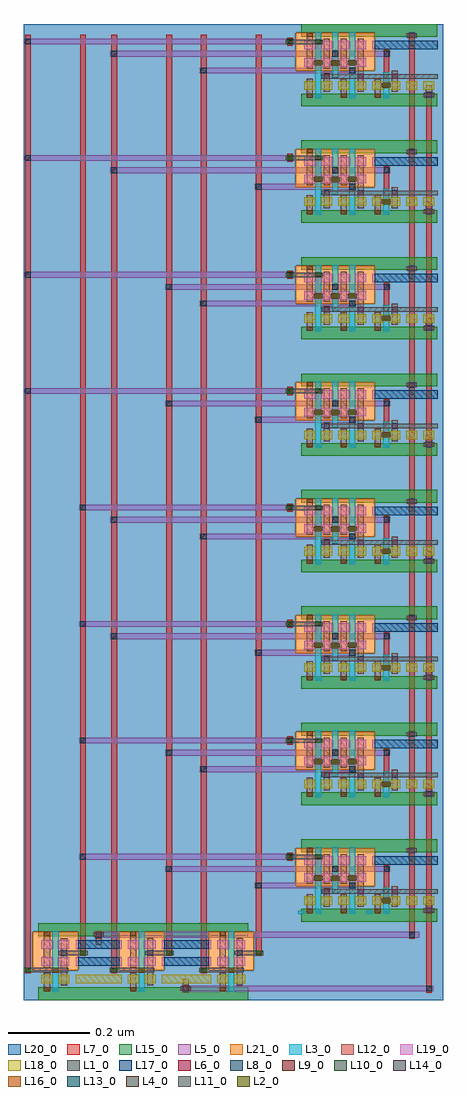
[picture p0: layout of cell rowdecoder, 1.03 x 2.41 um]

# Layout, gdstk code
import gdstk
lib = gdstk.Library(unit=1e-6, precision=2.5e-10)
def R(c, l, rs):  # rectangles x0, y0, x1, y1
    for r in rs: c.add(gdstk.rectangle(r[:2], r[2:], *l))
def A(c, l, x, y, w, h, nx, ny, dx, dy):  # array of equal rectangles
    R(c, l, [(x+i*dx, y+j*dy, x+i*dx+w, y+j*dy+h) for i in range(nx) for j in range(ny)])
def P(c, l, *ps):  # polygons
    for p in ps: c.add(gdstk.Polygon(p, *l))
L1_0 = (1, 0)
L2_0 = (2, 0)
L3_0 = (3, 0)
L4_0 = (4, 0)
L5_0 = (5, 0)
L6_0 = (6, 0)
L7_0 = (7, 0)
L8_0 = (8, 0)
L9_0 = (9, 0)
L10_0 = (10, 0)
L11_0 = (11, 0)
L12_0 = (12, 0)
L13_0 = (13, 0)
L14_0 = (14, 0)
L15_0 = (15, 0)
L16_0 = (16, 0)
L17_0 = (17, 0)
L18_0 = (18, 0)
L19_0 = (19, 0)
L20_0 = (20, 0)
L21_0 = (21, 0)

inv_2 = lib.new_cell('inv_2')
R(inv_2, L1_0, [(-0.011,0.016,0.011,0.027), (0.0085,0.0585,0.0335,0.0695)])
R(inv_2, L2_0, [(-0.0075,0.016,0.0075,0.027)])
R(inv_2, L3_0, [(-0.0075,-0.032,0.0075,0.117)])
R(inv_2, L4_0, [(-0.0075,0.015,0.0075,0.028)])
R(inv_2, L11_0, [(0.0145,0.0585,0.0275,0.0695)])
R(inv_2, L12_0, [(-0.0285,-0.031,-0.0135,0.0155), (0.0135,-0.0155,0.0285,0.1005), (-0.0285,0.027,-0.0135,0.116)])
R(inv_2, L13_0, [(0.0145,0.0575,0.0275,0.0705)])
R(inv_2, L14_0, [(-0.0285,-0.031,-0.0135,-0.0205), (-0.0285,0.1055,-0.0135,0.116)])
R(inv_2, L15_0, [(-0.042,-0.052,0.0415,-0.0205), (-0.042,0.1055,0.0415,0.137)])
R(inv_2, L16_0, [(-0.0285,-0.031,-0.0135,-0.0205), (-0.0285,0.1055,-0.0135,0.116)])
R(inv_2, L18_0, [(-0.0345,-0.0105,-0.0075,0.0105), (0.0075,-0.0105,0.0345,0.0105)])
R(inv_2, L19_0, [(-0.0345,0.032,-0.0075,0.053), (0.0075,0.032,0.0345,0.053), (-0.0345,0.0745,-0.0075,0.0955), (0.0075,0.0745,0.0345,0.0955)])
R(inv_2, L20_0, [(-0.0555,-0.052,0.0555,0.021), (-0.0555,0.116,0.0555,0.137)])
R(inv_2, L21_0, [(-0.0555,0.021,0.0555,0.116)])

nor_5 = lib.new_cell('nor_5')
R(nor_5, L1_0, [(0.11,-0.008,0.132,0.003), (-0.0385,0.014,0.1545,0.025), (-0.016,0.047,0.006,0.058), (-0.058,0.0475,-0.036,0.0585), (0.026,0.0475,0.048,0.0585)])
R(nor_5, L2_0, [(0.1135,-0.008,0.1285,0.003), (-0.0125,0.047,0.0025,0.058), (-0.0545,0.0475,-0.0395,0.0585), (0.0295,0.0475,0.0445,0.0585)])
R(nor_5, L3_0, [(-0.0545,-0.0345,-0.0395,0.1285), (0.0295,-0.0345,0.0445,0.1285), (0.1135,-0.0345,0.1285,0.0295), (-0.0125,0.0155,0.0025,0.1285)])
R(nor_5, L4_0, [(0.1135,-0.009,0.1285,0.004), (-0.0125,0.046,0.0025,0.059), (-0.0545,0.0465,-0.0395,0.0595), (0.0295,0.0465,0.0445,0.0595)])
R(nor_5, L5_0, [(-0.015,0.068,0.131,0.082)])
R(nor_5, L6_0, [(-0.012,0.068,0.002,0.082), (0.114,0.068,0.128,0.082)])
R(nor_5, L7_0, [(0.114,-0.01,0.128,0.085), (-0.012,0.0415,0.002,0.085)])
R(nor_5, L8_0, [(-0.012,0.068,0.002,0.082), (0.114,0.068,0.128,0.082)])
R(nor_5, L9_0, [(0.114,-0.0075,0.128,0.0025), (-0.012,0.047,0.002,0.057)])
R(nor_5, L10_0, [(0.114,-0.0075,0.128,0.0025), (-0.012,0.047,0.002,0.057)])
A(nor_5, L11_0, -0.0325, 0.014, 0.013, 0.011, 3, 1, 0.084, 0)
A(nor_5, L12_0, -0.0755, -0.0335, 0.015, 0.0465, 3, 1, 0.084, 0)
R(nor_5, L12_0, [(-0.0335,-0.018,-0.0185,0.028), (0.0505,-0.018,0.0655,0.112), (0.1345,-0.018,0.1495,0.033), (-0.0755,0.0385,-0.0605,0.1275), (-0.0335,0.0385,-0.0185,0.112), (0.0085,0.0385,0.0235,0.112)])
A(nor_5, L13_0, -0.0325, 0.013, 0.013, 0.013, 3, 1, 0.084, 0)
A(nor_5, L14_0, -0.0755, -0.0335, 0.015, 0.0105, 3, 1, 0.084, 0)
R(nor_5, L14_0, [(-0.0755,0.117,-0.0605,0.1275)])
R(nor_5, L15_0, [(-0.089,-0.0545,0.163,-0.023), (-0.089,0.117,0.163,0.1485)])
A(nor_5, L16_0, -0.0755, -0.0335, 0.015, 0.0105, 3, 1, 0.084, 0)
R(nor_5, L16_0, [(-0.0755,0.117,-0.0605,0.1275)])
A(nor_5, L18_0, -0.0815, -0.013, 0.027, 0.021, 6, 1, 0.042, 0)
R(nor_5, L18_0, [(0.1705,-0.013,0.1775,0.008)])
A(nor_5, L19_0, -0.0815, 0.0435, 0.027, 0.021, 4, 2, 0.042, 0.0425)
R(nor_5, L19_0, [(0.0865,0.086,0.0925,0.107)])
P(nor_5, L20_0, [(0.1775,0.1485),(0.1775,0.127),(-0.1025,0.127),(-0.1025,0.033),(0.0925,0.033),(0.0925,0.127),(0.1775,0.127),(0.1775,-0.0545),(-0.1035,-0.0545),(-0.1035,0.1485)])
R(nor_5, L21_0, [(-0.1025,0.033,0.0925,0.127)])

rowdecoder = lib.new_cell('rowdecoder')
A(rowdecoder, L1_0, 1.023, 0.249, 0.025, 0.011, 1, 6, 0, 0.287)
A(rowdecoder, L1_0, 0.959, 0.295, 0.098, 0.011, 1, 6, 0, 0.287)
A(rowdecoder, L1_0, 0.981, 0.396, 0.025, 0.011, 1, 6, 0, 0.287)
R(rowdecoder, L1_0, [(0.4235,0.056,0.4485,0.067), (0.0365,0.1015,0.1465,0.1125), (0.249,0.1015,0.359,0.1125), (0.4695,0.1015,0.5795,0.1125), (0.1235,0.144,0.194,0.155), (0.336,0.144,0.4065,0.155), (0.5565,0.144,0.627,0.155), (0.209,0.189,0.234,0.2), (0.7515,0.3285,0.7735,0.3385), (0.8355,0.329,0.8575,0.339), (0.682,0.3805,0.7735,0.3915), (0.8355,0.6155,0.8575,0.6255), (0.7515,0.616,0.7735,0.626), (0.682,0.667,0.7735,0.678), (0.7515,0.9025,0.7735,0.9125), (0.8355,0.903,0.8575,0.913), (0.682,0.9545,0.7735,0.9655), (0.8355,1.1895,0.8575,1.1995), (0.7515,1.19,0.7735,1.2), (0.682,1.241,0.7735,1.252), (0.7515,1.4765,0.7735,1.4865), (0.8355,1.477,0.8575,1.487), (0.682,1.5285,0.7735,1.5395), (0.8355,1.7635,0.8575,1.7735), (0.7515,1.764,0.7735,1.774), (0.682,1.815,0.7735,1.826), (1.023,1.9715,1.048,1.9825), (0.959,2.0175,1.057,2.0285), (0.7515,2.051,0.7735,2.061), (0.8355,2.0515,0.8575,2.0615), (0.682,2.103,0.7735,2.114), (0.981,2.1185,1.006,2.1295), (1.023,2.2585,1.048,2.2695), (0.959,2.3045,1.057,2.3155), (0.8355,2.338,0.8575,2.348), (0.7515,2.3385,0.7735,2.3485), (0.682,2.3895,0.7735,2.4005), (0.981,2.4055,1.006,2.4165)])
A(rowdecoder, L3_0, 0.755, 0.2465, 0.015, 0.163, 1, 6, 0, 0.287)
A(rowdecoder, L3_0, 0.839, 0.2465, 0.015, 0.163, 1, 6, 0, 0.287)
A(rowdecoder, L3_0, 0.923, 0.2465, 0.015, 0.064, 1, 6, 0, 0.287)
A(rowdecoder, L3_0, 0.797, 0.2965, 0.015, 0.113, 1, 6, 0, 0.287)
R(rowdecoder, L3_0, [(0.713,0.2465,0.728,0.253), (0.881,0.2465,0.896,0.253), (0.755,1.969,0.77,2.132), (0.839,1.969,0.854,2.132), (0.923,1.969,0.938,2.033), (0.797,2.019,0.812,2.132), (0.755,2.256,0.77,2.419), (0.839,2.256,0.854,2.419), (0.923,2.256,0.938,2.32), (0.797,2.306,0.812,2.419)])
A(rowdecoder, L5_0, 0.606, 0.3085, 0.2505, 0.014, 1, 3, 0, 0.574)
A(rowdecoder, L5_0, 0.4705, 0.595, 0.386, 0.014, 1, 3, 0, 0.574)
R(rowdecoder, L5_0, [(0.426,0.0545,1.0455,0.0685), (0.2115,0.1875,1.011,0.2015), (0.3855,0.349,0.812,0.363), (0.173,0.3795,0.703,0.3935), (0.3855,0.636,0.812,0.65), (0.173,0.666,0.703,0.68), (0.25,0.923,0.812,0.937), (0.173,0.9535,0.703,0.9675), (0.25,1.21,0.812,1.224), (0.173,1.24,0.703,1.254), (0.3855,1.497,0.812,1.511), (0.0375,1.5275,0.703,1.5415), (0.3855,1.784,0.812,1.798), (0.0375,1.814,0.703,1.828), (0.606,2.031,0.8565,2.045), (0.25,2.0715,0.812,2.0855), (0.0375,2.102,0.703,2.116), (0.4705,2.3175,0.8565,2.3315), (0.25,2.3585,0.812,2.3725), (0.0375,2.3885,0.703,2.4025)])
A(rowdecoder, L6_0, 0.609, 0.3085, 0.014, 0.014, 1, 3, 0, 0.574)
A(rowdecoder, L6_0, 0.4735, 0.595, 0.014, 0.014, 1, 3, 0, 0.574)
R(rowdecoder, L6_0, [(0.429,0.0545,0.443,0.0685), (1.0285,0.0545,1.0425,0.0685), (0.2145,0.1875,0.2285,0.2015), (0.9865,0.1875,1.0005,0.2015), (0.8395,0.3085,0.8535,0.3225), (0.3885,0.349,0.4025,0.363), (0.176,0.3795,0.19,0.3935), (0.686,0.3795,0.7,0.3935), (0.8395,0.595,0.8535,0.609), (0.3885,0.636,0.4025,0.65), (0.176,0.666,0.19,0.68), (0.686,0.666,0.7,0.68), (0.8395,0.8825,0.8535,0.8965), (0.253,0.923,0.267,0.937), (0.176,0.9535,0.19,0.9675), (0.686,0.9535,0.7,0.9675), (0.8395,1.169,0.8535,1.183), (0.253,1.21,0.267,1.224), (0.176,1.24,0.19,1.254), (0.686,1.24,0.7,1.254), (0.8395,1.4565,0.8535,1.4705), (0.3885,1.497,0.4025,1.511), (0.0405,1.5275,0.0545,1.5415), (0.686,1.5275,0.7,1.5415), (0.8395,1.743,0.8535,1.757), (0.3885,1.784,0.4025,1.798), (0.0405,1.814,0.0545,1.828), (0.686,1.814,0.7,1.828), (0.609,2.031,0.623,2.045), (0.8395,2.031,0.8535,2.045), (0.253,2.0715,0.267,2.0855), (0.0405,2.102,0.0545,2.116), (0.686,2.102,0.7,2.116), (0.4735,2.3175,0.4875,2.3315), (0.8395,2.3175,0.8535,2.3315), (0.253,2.3585,0.267,2.3725), (0.0405,2.3885,0.0545,2.4025), (0.686,2.3885,0.7,2.4025)])
R(rowdecoder, L7_0, [(0.429,0.0515,0.443,0.0715), (1.0285,0.0515,1.0425,2.2715), (0.0405,0.0995,0.0545,2.412), (0.253,0.0995,0.267,2.412), (0.4735,0.0995,0.4875,2.412), (0.176,0.142,0.19,2.412), (0.3885,0.142,0.4025,2.412), (0.609,0.142,0.623,2.412), (0.2145,0.1845,0.2285,0.2045), (0.9865,0.1845,1.0005,2.4185), (0.8395,0.3055,0.8535,0.3415), (0.7555,0.326,0.7695,0.394), (0.686,0.3765,0.7,0.3965), (0.8395,0.592,0.8535,0.628), (0.7555,0.6125,0.7695,0.6805), (0.686,0.663,0.7,0.683), (0.8395,0.8795,0.8535,0.9155), (0.7555,0.9,0.7695,0.968), (0.686,0.9505,0.7,0.9705), (0.8395,1.166,0.8535,1.202), (0.7555,1.1865,0.7695,1.2545), (0.686,1.237,0.7,1.257), (0.8395,1.4535,0.8535,1.4895), (0.7555,1.474,0.7695,1.542), (0.686,1.5245,0.7,1.5445), (0.8395,1.74,0.8535,1.776), (0.7555,1.7605,0.7695,1.8285), (0.686,1.811,0.7,1.831), (0.8395,2.028,0.8535,2.064), (0.7555,2.0485,0.7695,2.1165), (0.686,2.099,0.7,2.119), (0.8395,2.3145,0.8535,2.3505), (0.7555,2.335,0.7695,2.403), (0.686,2.3855,0.7,2.4055)])
A(rowdecoder, L8_0, 0.609, 0.3085, 0.014, 0.014, 1, 3, 0, 0.574)
A(rowdecoder, L8_0, 0.4735, 0.595, 0.014, 0.014, 1, 3, 0, 0.574)
R(rowdecoder, L8_0, [(0.429,0.0545,0.443,0.0685), (1.0285,0.0545,1.0425,0.0685), (0.2145,0.1875,0.2285,0.2015), (0.9865,0.1875,1.0005,0.2015), (0.8395,0.3085,0.8535,0.3225), (0.3885,0.349,0.4025,0.363), (0.176,0.3795,0.19,0.3935), (0.686,0.3795,0.7,0.3935), (0.8395,0.595,0.8535,0.609), (0.3885,0.636,0.4025,0.65), (0.176,0.666,0.19,0.68), (0.686,0.666,0.7,0.68), (0.8395,0.8825,0.8535,0.8965), (0.253,0.923,0.267,0.937), (0.176,0.9535,0.19,0.9675), (0.686,0.9535,0.7,0.9675), (0.8395,1.169,0.8535,1.183), (0.253,1.21,0.267,1.224), (0.176,1.24,0.19,1.254), (0.686,1.24,0.7,1.254), (0.8395,1.4565,0.8535,1.4705), (0.3885,1.497,0.4025,1.511), (0.0405,1.5275,0.0545,1.5415), (0.686,1.5275,0.7,1.5415), (0.8395,1.743,0.8535,1.757), (0.3885,1.784,0.4025,1.798), (0.0405,1.814,0.0545,1.828), (0.686,1.814,0.7,1.828), (0.609,2.031,0.623,2.045), (0.8395,2.031,0.8535,2.045), (0.253,2.0715,0.267,2.0855), (0.0405,2.102,0.0545,2.116), (0.686,2.102,0.7,2.116), (0.4735,2.3175,0.4875,2.3315), (0.8395,2.3175,0.8535,2.3315), (0.253,2.3585,0.267,2.3725), (0.0405,2.3885,0.0545,2.4025), (0.686,2.3885,0.7,2.4025)])
A(rowdecoder, L9_0, 1.0285, 0.2495, 0.014, 0.01, 1, 6, 0, 0.287)
A(rowdecoder, L9_0, 0.9865, 0.3965, 0.014, 0.01, 1, 6, 0, 0.287)
R(rowdecoder, L9_0, [(0.429,0.0565,0.443,0.0665), (0.0405,0.102,0.0545,0.112), (0.253,0.102,0.267,0.112), (0.4735,0.102,0.4875,0.112), (0.176,0.1445,0.19,0.1545), (0.3885,0.1445,0.4025,0.1545), (0.609,0.1445,0.623,0.1545), (0.2145,0.1895,0.2285,0.1995), (0.7555,0.3285,0.7695,0.3385), (0.8395,0.329,0.8535,0.339), (0.686,0.3815,0.7,0.3915), (0.7555,0.3815,0.7695,0.3915), (0.8395,0.6155,0.8535,0.6255), (0.7555,0.616,0.7695,0.626), (0.686,0.668,0.7,0.678), (0.7555,0.668,0.7695,0.678), (0.7555,0.9025,0.7695,0.9125), (0.8395,0.903,0.8535,0.913), (0.686,0.9555,0.7,0.9655), (0.7555,0.9555,0.7695,0.9655), (0.8395,1.1895,0.8535,1.1995), (0.7555,1.19,0.7695,1.2), (0.686,1.242,0.7,1.252), (0.7555,1.242,0.7695,1.252), (0.7555,1.4765,0.7695,1.4865), (0.8395,1.477,0.8535,1.487), (0.686,1.5295,0.7,1.5395), (0.7555,1.5295,0.7695,1.5395), (0.8395,1.7635,0.8535,1.7735), (0.7555,1.764,0.7695,1.774), (0.686,1.816,0.7,1.826), (0.7555,1.816,0.7695,1.826), (1.0285,1.972,1.0425,1.982), (0.7555,2.051,0.7695,2.061), (0.8395,2.0515,0.8535,2.0615), (0.686,2.104,0.7,2.114), (0.7555,2.104,0.7695,2.114), (0.9865,2.119,1.0005,2.129), (1.0285,2.259,1.0425,2.269), (0.8395,2.338,0.8535,2.348), (0.7555,2.3385,0.7695,2.3485), (0.686,2.3905,0.7,2.4005), (0.7555,2.3905,0.7695,2.4005), (0.9865,2.406,1.0005,2.416)])
A(rowdecoder, L10_0, 1.0285, 0.2495, 0.014, 0.01, 1, 6, 0, 0.287)
A(rowdecoder, L10_0, 0.9865, 0.3965, 0.014, 0.01, 1, 6, 0, 0.287)
R(rowdecoder, L10_0, [(0.429,0.0565,0.443,0.0665), (0.0405,0.102,0.0545,0.112), (0.253,0.102,0.267,0.112), (0.4735,0.102,0.4875,0.112), (0.176,0.1445,0.19,0.1545), (0.3885,0.1445,0.4025,0.1545), (0.609,0.1445,0.623,0.1545), (0.2145,0.1895,0.2285,0.1995), (0.7555,0.3285,0.7695,0.3385), (0.8395,0.329,0.8535,0.339), (0.686,0.3815,0.7,0.3915), (0.7555,0.3815,0.7695,0.3915), (0.8395,0.6155,0.8535,0.6255), (0.7555,0.616,0.7695,0.626), (0.686,0.668,0.7,0.678), (0.7555,0.668,0.7695,0.678), (0.7555,0.9025,0.7695,0.9125), (0.8395,0.903,0.8535,0.913), (0.686,0.9555,0.7,0.9655), (0.7555,0.9555,0.7695,0.9655), (0.8395,1.1895,0.8535,1.1995), (0.7555,1.19,0.7695,1.2), (0.686,1.242,0.7,1.252), (0.7555,1.242,0.7695,1.252), (0.7555,1.4765,0.7695,1.4865), (0.8395,1.477,0.8535,1.487), (0.686,1.5295,0.7,1.5395), (0.7555,1.5295,0.7695,1.5395), (0.8395,1.7635,0.8535,1.7735), (0.7555,1.764,0.7695,1.774), (0.686,1.816,0.7,1.826), (0.7555,1.816,0.7695,1.826), (1.0285,1.972,1.0425,1.982), (0.7555,2.051,0.7695,2.061), (0.8395,2.0515,0.8535,2.0615), (0.686,2.104,0.7,2.114), (0.7555,2.104,0.7695,2.114), (0.9865,2.119,1.0005,2.129), (1.0285,2.259,1.0425,2.269), (0.8395,2.338,0.8535,2.348), (0.7555,2.3385,0.7695,2.3485), (0.686,2.3905,0.7,2.4005), (0.7555,2.3905,0.7695,2.4005), (0.9865,2.406,1.0005,2.416)])
A(rowdecoder, L11_0, 1.029, 0.249, 0.013, 0.011, 1, 6, 0, 0.287)
A(rowdecoder, L11_0, 0.987, 0.396, 0.013, 0.011, 1, 6, 0, 0.287)
R(rowdecoder, L11_0, [(0.4295,0.056,0.4425,0.067), (0.215,0.189,0.228,0.2), (1.029,1.9715,1.042,1.9825), (0.987,2.1185,1,2.1295), (1.029,2.2585,1.042,2.2695), (0.987,2.4055,1,2.4165)])
A(rowdecoder, L12_0, 1.028, 0.2475, 0.015, 0.0315, 1, 6, 0, 0.287)
A(rowdecoder, L12_0, 0.986, 0.3765, 0.015, 0.032, 1, 6, 0, 0.287)
R(rowdecoder, L12_0, [(0.4285,0.0545,0.4435,0.086), (0.214,0.17,0.229,0.2015), (1.028,1.97,1.043,2.0015), (0.986,2.099,1.001,2.131), (1.028,2.257,1.043,2.2885), (0.986,2.386,1.001,2.418)])
A(rowdecoder, L13_0, 1.029, 0.248, 0.013, 0.013, 1, 6, 0, 0.287)
A(rowdecoder, L13_0, 0.987, 0.395, 0.013, 0.013, 1, 6, 0, 0.287)
R(rowdecoder, L13_0, [(0.4295,0.055,0.4425,0.068), (0.215,0.188,0.228,0.201), (1.029,1.9705,1.042,1.9835), (0.987,2.1175,1,2.1305), (1.029,2.2575,1.042,2.2705), (0.987,2.4045,1,2.4175)])
A(rowdecoder, L14_0, 1.028, 0.2475, 0.015, 0.0105, 1, 6, 0, 0.287)
A(rowdecoder, L14_0, 0.986, 0.398, 0.015, 0.0105, 1, 6, 0, 0.287)
R(rowdecoder, L14_0, [(0.4285,0.0545,0.4435,0.065), (0.214,0.191,0.229,0.2015), (1.028,1.97,1.043,1.9805), (0.986,2.1205,1.001,2.131), (1.028,2.257,1.043,2.2675), (0.986,2.4075,1.001,2.418)])
R(rowdecoder, L15_0, [(0.1565,0.0335,0.2855,0.065), (0.369,0.0335,0.506,0.065), (0.291,0.036,0.321,0.048), (0.1565,0.191,0.2855,0.2225), (0.369,0.191,0.506,0.2225), (0.2875,0.2035,0.323,0.218), (0.9725,0.2265,1.0565,0.258), (0.9725,0.398,1.0565,0.4295), (0.9725,0.5135,1.0565,0.545), (0.9725,0.685,1.0565,0.7165), (0.9725,0.8005,1.0565,0.832), (0.9725,0.972,1.0565,1.0035), (0.9725,1.0875,1.0565,1.119), (0.9725,1.259,1.0565,1.2905), (0.9725,1.3745,1.0565,1.406), (0.9725,1.546,1.0565,1.5775), (0.9725,1.6615,1.0565,1.693), (0.9725,1.833,1.0565,1.8645), (0.9725,1.949,1.0565,1.9805), (0.9725,2.1205,1.0565,2.152), (0.9725,2.236,1.0565,2.2675), (0.9725,2.4075,1.0565,2.439)])
A(rowdecoder, L16_0, 1.028, 0.2475, 0.015, 0.0105, 1, 6, 0, 0.287)
A(rowdecoder, L16_0, 0.986, 0.398, 0.015, 0.0105, 1, 6, 0, 0.287)
R(rowdecoder, L16_0, [(0.4285,0.0545,0.4435,0.065), (0.214,0.191,0.229,0.2015), (1.028,1.97,1.043,1.9805), (0.986,2.1205,1.001,2.131), (1.028,2.257,1.043,2.2675), (0.986,2.4075,1.001,2.418)])
A(rowdecoder, L17_0, 0.902, 0.367, 0.155, 0.021, 1, 6, 0, 0.287)
R(rowdecoder, L17_0, [(0.1705,0.1175,0.272,0.1385), (0.383,0.1175,0.4925,0.1385), (0.1705,0.16,0.272,0.181), (0.383,0.16,0.4925,0.181), (0.902,2.0895,1.057,2.1105), (0.902,2.3765,1.057,2.3975)])
A(rowdecoder, L18_0, 0.728, 0.268, 0.027, 0.021, 6, 6, 0.042, 0.287)
A(rowdecoder, L18_0, 0.987, 0.268, 0.02, 0.021, 1, 6, 0, 0.287)
A(rowdecoder, L18_0, 1.022, 0.268, 0.027, 0.021, 1, 6, 0, 0.287)
A(rowdecoder, L18_0, 0.728, 1.9905, 0.027, 0.021, 6, 2, 0.042, 0.287)
R(rowdecoder, L18_0, [(0.1645,0.075,0.278,0.096), (0.377,0.075,0.4985,0.096), (0.987,1.9905,1.007,2.0115), (1.022,1.9905,1.049,2.0115), (0.987,2.2775,1.007,2.2985), (1.022,2.2775,1.049,2.2985)])
A(rowdecoder, L19_0, 0.728, 0.3245, 0.027, 0.021, 4, 2, 0.042, 0.0425)
A(rowdecoder, L19_0, 0.728, 0.6115, 0.027, 0.021, 4, 2, 0.042, 0.0425)
A(rowdecoder, L19_0, 0.728, 0.8985, 0.027, 0.021, 4, 2, 0.042, 0.0425)
A(rowdecoder, L19_0, 0.728, 1.1855, 0.027, 0.021, 4, 2, 0.042, 0.0425)
A(rowdecoder, L19_0, 0.728, 1.4725, 0.027, 0.021, 4, 2, 0.042, 0.0425)
A(rowdecoder, L19_0, 0.728, 1.7595, 0.027, 0.021, 4, 2, 0.042, 0.0425)
A(rowdecoder, L19_0, 0.728, 2.047, 0.027, 0.021, 4, 2, 0.042, 0.0425)
A(rowdecoder, L19_0, 0.728, 2.334, 0.027, 0.021, 4, 2, 0.042, 0.0425)
R(rowdecoder, L19_0, [(0.1645,0.1175,0.1705,0.1385), (0.272,0.1175,0.278,0.1385), (0.377,0.1175,0.383,0.1385), (0.4925,0.1175,0.4985,0.1385), (0.1645,0.16,0.1705,0.181), (0.272,0.16,0.278,0.181), (0.377,0.16,0.383,0.181), (0.4925,0.16,0.4985,0.181)])
P(rowdecoder, L20_0, [(1.071,2.439),(1.071,2.152),(0.706,2.152),(0.706,1.949),(0.987,1.949),(0.987,2.152),(1.071,2.152),(1.071,1.8645),(0.706,1.8645),(0.706,1.6615),(0.987,1.6615),(0.987,1.8645),(1.071,1.8645),(1.071,1.5775),(0.706,1.5775),(0.706,1.3745),(0.987,1.3745),(0.987,1.5775),(1.071,1.5775),(1.071,1.2905),(0.706,1.2905),(0.706,1.0875),(0.987,1.0875),(0.987,1.2905),(1.071,1.2905),(1.071,1.0035),(0.706,1.0035),(0.706,0.8005),(0.987,0.8005),(0.987,1.0035),(1.071,1.0035),(1.071,0.7165),(0.706,0.7165),(0.706,0.5135),(0.987,0.5135),(0.987,0.7165),(1.071,0.7165),(1.071,0.4295),(0.706,0.4295),(0.706,0.2265),(0.987,0.2265),(0.987,0.4295),(1.071,0.4295),(1.071,0.0335),(0.6035,0.0335),(0.6035,0.2225),(0.4925,0.2225),(0.4925,0.0335),(0.383,0.0335),(0.383,0.2225),(0.272,0.2225),(0.272,0.0335),(0.1705,0.0335),(0.1705,0.2225),(0.0595,0.2225),(0.0595,0.0335),(0.0365,0.0335),(0.0365,2.439),(0.706,2.439),(0.706,2.236),(0.987,2.236),(0.987,2.439)])
rowdecoder.add(gdstk.Reference(inv_2, (0.548,0.0855)))
rowdecoder.add(gdstk.Reference(inv_2, (0.3275,0.0855)))
rowdecoder.add(gdstk.Reference(inv_2, (0.115,0.0855)))
rowdecoder.add(gdstk.Reference(nor_5, (0.8095,2.2905)))
rowdecoder.add(gdstk.Reference(nor_5, (0.8095,2.0035)))
rowdecoder.add(gdstk.Reference(nor_5, (0.8095,1.716)))
rowdecoder.add(gdstk.Reference(nor_5, (0.8095,1.429)))
rowdecoder.add(gdstk.Reference(nor_5, (0.8095,1.142)))
rowdecoder.add(gdstk.Reference(nor_5, (0.8095,0.855)))
rowdecoder.add(gdstk.Reference(nor_5, (0.8095,0.568)))
rowdecoder.add(gdstk.Reference(nor_5, (0.8095,0.281)))

lib.write_gds('rowdecoder.gds')
